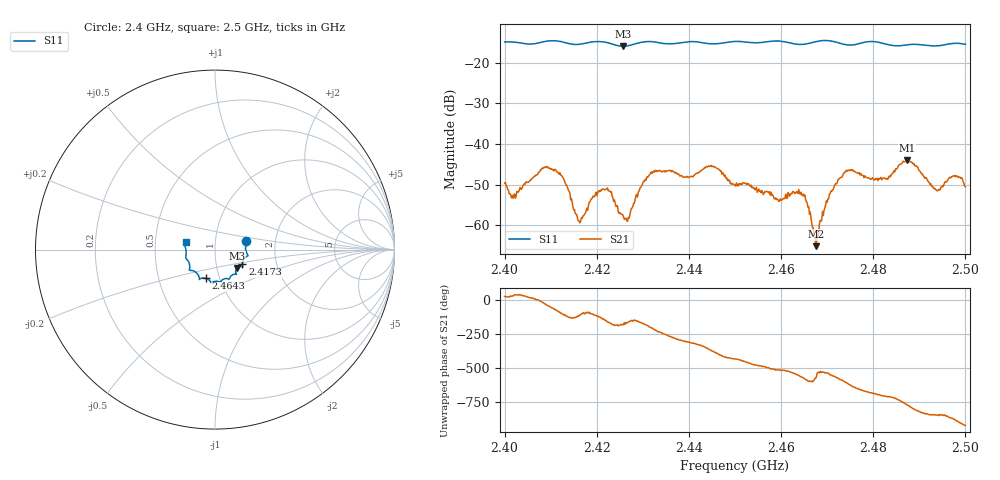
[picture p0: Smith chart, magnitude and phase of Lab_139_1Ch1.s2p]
# Hz S RI R 50
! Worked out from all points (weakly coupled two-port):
!   601 points, 2.4 GHz to 2.5 GHz, reference 50 ohm
!   highest |S21| = -44.05 dB at 2.4873 GHz (marker M1); lowest = -65.2 dB at 2.4677 GHz (marker M2)
!   lowest |S11| = -15.9 dB at 2.4257 GHz (marker M3), VSWR 1.38, Z = 62.4 - j13.1 ohm
!   |S11| at or under -10 dB: start of sweep to end of sweep
!   S12 and S22 are empty: the file has one direction only
!   S11 on the Smith chart (normalised r, x): 2.4 GHz: 1.41, +0.14; 2.4173 GHz: 1.34, -0.23; 2.4643 GHz: 0.86, -0.28; 2.5 GHz: 0.72, +0.06
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2.4e9  0.1733 0.0497  0.00289 0.00161  0 0  0 0
2.402e9  0.1748 0.0414  0.00183 0.00145  0 0  0 0
2.408333e9  0.1797 -0.0236  0.0048 -0.00136  0 0  0 0
2.410667e9  0.1836 -0.0338  0.00216 -0.00414  0 0  0 0
2.416667e9  0.1529 -0.0747  -0.000184 -0.00122  0 0  0 0
2.417333e9  0.1524 -0.0823  -0.000241 -0.00134  0 0  0 0
2.421833e9  0.1522 -0.0946  -0.00231 -0.00149  0 0  0 0
2.425667e9  0.1225 -0.1024  -0.00134 -7.58e-05  0 0  0 0
2.433333e9  0.1127 -0.1366  -0.00298 0.00365  0 0  0 0
2.445167e9  0.0539 -0.1621  0.00517 -0.00128  0 0  0 0
2.45e9  0.0298 -0.1807  0.001 -0.003  0 0  0 0
2.4595e9  -0.0227 -0.1841  -0.00174 -0.000912  0 0  0 0
2.464333e9  -0.0503 -0.1604  -0.00236 0.000982  0 0  0 0
2.466667e9  -0.0764 -0.1596  -0.000607 0.000842  0 0  0 0
2.467667e9  -0.0832 -0.1626  -0.000513 0.000204  0 0  0 0
2.470333e9  -0.0872 -0.1657  -0.00211 -0.000121  0 0  0 0
2.474e9  -0.0975 -0.1361  -0.00212 0.00406  0 0  0 0
2.483333e9  -0.1408 -0.0894  0.0038 0.000789  0 0  0 0
2.487333e9  -0.1574 -0.0545  0.00414 -0.00471  0 0  0 0
2.4935e9  -0.1609 -0.00756  -0.00145 -0.00234  0 0  0 0
2.4975e9  -0.1711 0.0291  -0.00366 -0.00172  0 0  0 0
2.5e9  -0.1636 0.042  -0.00279 0.00103  0 0  0 0
